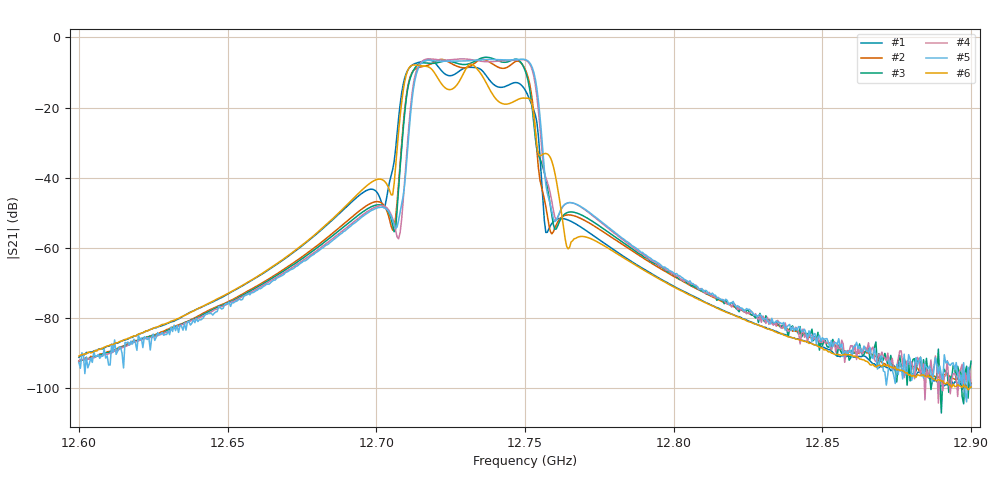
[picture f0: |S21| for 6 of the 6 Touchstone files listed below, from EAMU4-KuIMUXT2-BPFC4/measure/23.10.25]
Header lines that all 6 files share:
#  HZ  S  RI  R  50.00
! Rohde & Schwarz ZVA50 2Ports - Version 3.70 - 1145.1110k50 SN: 100192
! Measurements: S11 S21 S12 S22
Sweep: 12.6 GHz to 12.9 GHz
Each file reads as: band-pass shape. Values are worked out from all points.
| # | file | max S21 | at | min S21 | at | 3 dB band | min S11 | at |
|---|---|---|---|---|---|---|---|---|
| 1 | ku3ch4_23.10.25(2).s2p | -6.44 dB | 12.718 GHz | -100.3 dB | 12.897 GHz | 12.71 GHz-12.722 GHz | -11.7 dB | 12.73 GHz |
| 2 | ku3ch4_23.10.25(3).s2p | -6.22 dB | 12.736 GHz | -99.5 dB | 12.899 GHz | 12.713 GHz-12.75 GHz | -28.0 dB | 12.722 GHz |
| 3 | ku3ch4_23.10.25(4).s2p | -5.64 dB | 12.737 GHz | -107.0 dB | 12.89 GHz | 12.713 GHz-12.749 GHz | -24.0 dB | 12.737 GHz |
| 4 | ku3ch4_23.10.25(5).s2p | -6.09 dB | 12.717 GHz | -104.2 dB | 12.889 GHz | 12.714 GHz-12.752 GHz | -23.8 dB | 12.716 GHz |
| 5 | ku3ch4_23.10.25(6).s2p | -6.18 dB | 12.749 GHz | -103.9 dB | 12.899 GHz | 12.714 GHz-12.752 GHz | -22.8 dB | 12.713 GHz |
| 6 | ku3ch4_23.10.25.s2p | -7.61 dB | 12.732 GHz | -100.5 dB | 12.899 GHz | 12.71 GHz-12.72 GHz | -20.0 dB | 12.759 GHz |
